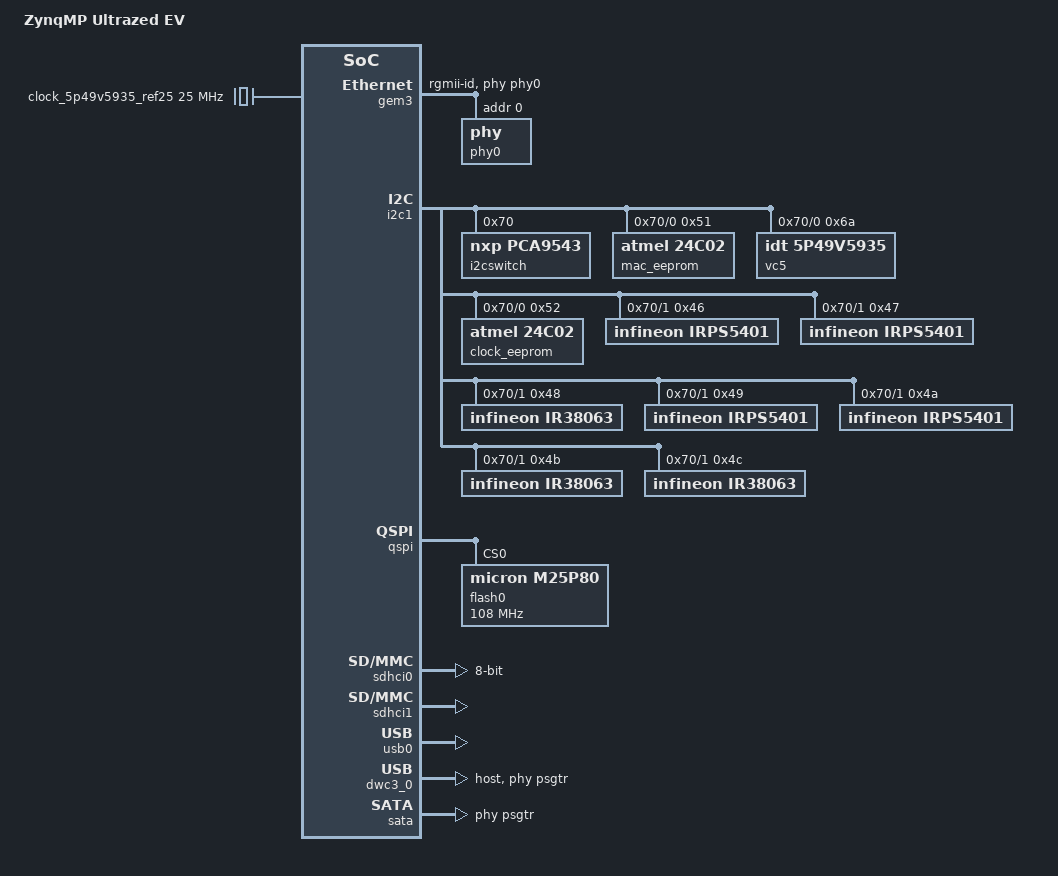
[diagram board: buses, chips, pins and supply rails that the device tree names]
#include "include/dt-bindings/input/input.h"
#include "include/dt-bindings/gpio/gpio.h"
#include "include/dt-bindings/pinctrl/pinctrl-zynqmp.h"
#include "include/dt-bindings/phy/phy.h"
#include "include/dt-bindings/interrupt-controller/irq.h"

/* From include/dt-bindings/clk/versaclock.h */
#define VC5_LVPECL   0
#define VC5_CMOS  1
#define VC5_HCSL33   2
#define VC5_LVDS  3
#define VC5_CMOS2 4
#define VC5_CMOSD 5
#define VC5_HCSL25   6

/ {
   model = "ZynqMP Ultrazed EV";
   xlnk {
      compatible = "xlnx,xlnk-1.0";
   };

   chosen {
      xlnx,eeprom= &mac_eeprom;
   };

   clock_5p49v5935_ref25: ref25m { /* 25MHz reference crystal (internal) - U3 */
      compatible = "fixed-clock";
      #clock-cells = <0>;
      clock-frequency = <25000000>;
   };

   gtr_clk0: gtr_clk0 { /* gtr_refclk0_pcie - 100MHz - U3 */
      compatible = "fixed-clock";
      #clock-cells = <0>;
      clock-frequency = <100000000>;
   };

   gtr_clk1: gtr_clk1 { /* gtr_refclk1_sata - 125MHz - U3 */
      compatible = "fixed-clock";
      #clock-cells = <0>;
      clock-frequency = <125000000>;
   };

   gtr_clk2: gtr_clk2 { /* gtr_refclk2_usb - 52MHz - U3 */
      compatible = "fixed-clock";
      #clock-cells = <0>;
      clock-frequency = <52000000>;
   };

   gtr_clk3: gtr_clk3 { /* gtr_refclk3_dp - 27MHz - U3 */
      compatible = "fixed-clock";
      #clock-cells = <0>;
      clock-frequency = <27000000>;
   };

};

&gem3 {
   status = "okay";
   phy-mode = "rgmii-id";
   phy-handle = <&phy0>;
   phy0: phy@0 {
      reg = <0x0>;
      ti,rx-internal-delay = <0x5>;
      ti,tx-internal-delay = <0x5>;
      ti,fifo-depth = <0x1>;
   };
};

&i2c1 {
   i2cswitch@70 { /* U7 on UZ3EG SOM, U8 on UZ7EV SOM */
      compatible = "nxp,pca9543";
      #address-cells = <1>;
      #size-cells = <0>;
      reg = <0x70>;
      i2c@0 { /* i2c mw 70 0 1 */
         #address-cells = <1>;
         #size-cells = <0>;
         reg = <0>;
         /* Ethernet MAC ID EEPROM */
         mac_eeprom: mac_eeprom@51 { /* U5 on UZ3EG IOCC & PCIEC and U7 on the UZ7EV EVCC */
            compatible = "atmel,24c02";
            reg = <0x51>;
         };

         vc5: clock-generator@6a { /* IDT (Renesas) 5P49V5935 I2C clock generator */
            compatible = "idt,5p49v5935";
            reg = <0x6a>;
            #clock-cells = <1>;

            /* Connect XIN input to 25MHz reference */
            clocks = <&clock_5p49v5935_ref25>;
            clock-names = "xin";

            OUT3 { /* USB3 */
               idt,drive-mode = <VC5_CMOSD>; /* */
               idt,voltage-microvolts = <1800000>;
               idt,slew-percent = <80>;
            };
         };

         
         clock_eeprom@52 { /* U5 on the UZ7EV EVCC */
            compatible = "atmel,24c02";
            reg = <0x52>;
         };
      };

      i2c@1 {
         #address-cells = <0x1>;
         #size-cells = <0x0>;
         reg = <0x1>;

         irps5401@46 { /* IRPS5401 - U24 on UZ7EV SOM*/
            compatible = "infineon,irps5401";
            reg = <0x46>;
         };

         irps5401@47 { /* IRPS5401 - U25 on UZ7EV SOM*/
            compatible = "infineon,irps5401";
            reg = <0x47>;
         };

         ir38063@48 { /* IR38063 - U26 on UZ7EV SOM*/
            compatible = "infineon,ir38063";
            reg = <0x48>;
         };

         irps5401@49 { /* IRPS5401 - U21 on UZ7EV EVCC*/
            compatible = "infineon,irps5401";
            reg = <0x49>;
         };
         irps5401@4a { /* IRPS5401 - U22 on UZ7EV EVCC*/
            compatible = "infineon,irps5401";
            reg = <0x4a>;
         };

         ir38063@4b { /* IR38063 - U18 on UZ7EV EVCC*/
            compatible = "infineon,ir38063";
            reg = <0x4b>;
         };

         ir38063@4c { /* IR38063 - U19 on UZ7EV EVCC*/
            compatible = "infineon,ir38063";
            reg = <0x4c>;
         };
      };
   };
};

&qspi {
   #address-cells = <1>;
   #size-cells = <0>;
   status = "okay";
   is-dual = <1>; /* Set for dual-parallel QSPI config */
   num-cs = <2>;
   xlnx,fb-clk = <0x1>;
   flash0: flash@0 {
      /* The Flash described below doesn't match our board ("micron,n25qu256a"), but is needed */
      /* so the Flash MTD partitions are correctly identified in /proc/mtd */
      compatible = "micron,m25p80","jedec,spi-nor"; /* 32MB */
      #address-cells = <1>;
      #size-cells = <1>;
      reg = <0x0>;
      spi-tx-bus-width = <1>;
      spi-rx-bus-width = <4>; /* FIXME also DUAL configuration possible */
      spi-max-frequency = <108000000>; /* Set to 108000000 Based on DC1 spec */
   };
};

/* SD0 eMMC, 8-bit wide data bus */
&sdhci0 {
   status = "okay";
   bus-width = <8>;
   max-frequency = <50000000>;
};

/* SD1 with level shifter */
&sdhci1 {
   status = "okay";
   max-frequency = <50000000>;
   no-1-8-v;   /* for 1.0 silicon */
};

/* Vitis interrupt connected at PS interrupt offset [5] (89+5=94) */
/* This description may be missing/incorrect in the pl.dtsi, so we add/fix it here */
&axi_intc_0 {
   interrupts = <0 94 1>; 
};

&amba_pl {
   zyxclmm_drm {
      compatible = "xlnx,zocl";
      status = "okay";
      interrupt-parent = <&axi_intc_0>;
      interrupts = <0  4>, <1  4>, <2  4>, <3  4>,
         <4  4>, <5  4>, <6  4>, <7  4>,
         <8  4>, <9  4>, <10 4>, <11 4>,
         <12 4>, <13 4>, <14 4>, <15 4>,
         <16 4>, <17 4>, <18 4>, <19 4>,
         <20 4>, <21 4>, <22 4>, <23 4>,
         <24 4>, <25 4>, <26 4>, <27 4>,
         <28 4>, <29 4>, <30 4>, <31 4>;
   };
};

&psgtr {
   /* PCIE, SATA, USB3, DP */
   clocks = <&gtr_clk0>, <&gtr_clk1>, <&gtr_clk2>, <&gtr_clk3>;
   clock-names = "ref0", "ref1", "ref2", "ref3";
};

/* ULPI SMSC USB3320 */
&usb0 {
   status = "okay";
};

&dwc3_0 {
   status = "okay"; 
   dr_mode = "host";
   maximum-speed = "super-speed"; 
   snps,usb3_lpm_capable; 
   snps,enable_auto_retry; 
   phy-names = "usb3-phy"; 
   /* <psgtr_phandle> <lane_number> <controller_type> <instance> <refclk> */
   phys = <&psgtr 2 PHY_TYPE_USB3 0 2>;
};

&sata {
   status = "okay";
   phy-names = "sata-phy";
   /* <psgtr_phandle> <lane_number> <controller_type> <instance> <refclk> */
   phys = <&psgtr 1 PHY_TYPE_SATA 1 1>;
};

